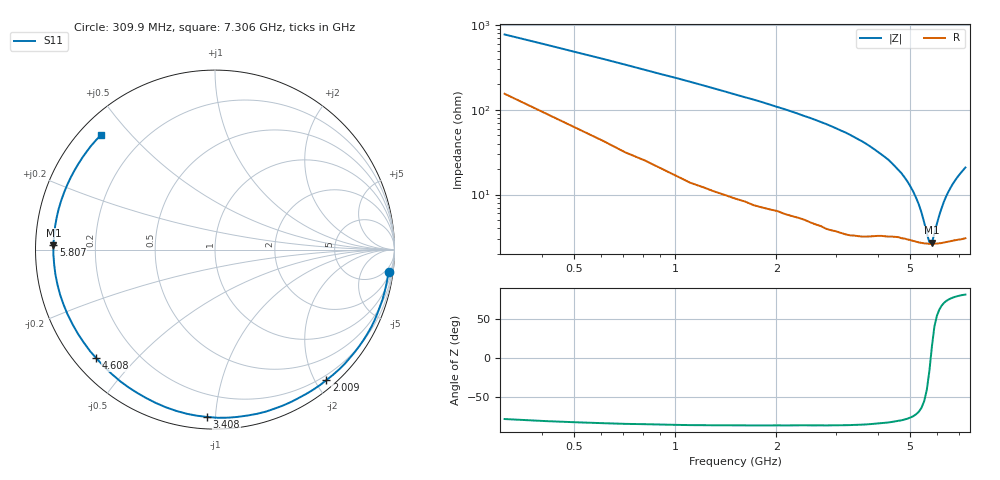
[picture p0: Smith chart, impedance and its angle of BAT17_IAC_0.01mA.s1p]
! Infineon Technologies  Discrete & RF Semiconductors
! BAT17
! IAC = 0.01 mA
! One-Port S-Parameters
# Hz  S  MA  R  50
!f  S11
!Hz  Mag  Ang
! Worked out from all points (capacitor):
!   71 points, 309.9 MHz to 7.306 GHz, reference 50 ohm
!   read as one part to ground: C = 662 fF near 309.9 MHz
!   lowest |Z| = 2.7 ohm at 5.807 GHz (marker M1)
!   series resonance near 5.761 GHz, so ESL is about 1.2 nH
!   S11 on the Smith chart (normalised r, x): 309.9 MHz: 3, -15; 2.009 GHz: 0.13, -2.16; 3.408 GHz: 0.07, -0.95; 4.608 GHz: 0.06, -0.39; 5.807 GHz: 0.05, +0.01; 7.306 GHz: 0.06, +0.41
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3.0985e8  0.9747 -7.2
7.0965e8  0.9739 -16.6
1.0095e9  0.9722 -23.8
1.2094e9  0.9702 -28.8
1.70915e9  0.9631 -41.4
2.009e9  0.956 -49.6
2.10895e9  0.9552 -52.1
2.4088e9  0.9491 -60.9
2.6087e9  0.9478 -66.5
3.0085e9  0.942 -79.1
3.2084e9  0.9393 -85.5
3.4083e9  0.9335 -92.7
3.6082e9  0.9282 -99.7
3.8081e9  0.9201 -107.3
4.008e9  0.9115 -115.1
4.30785e9  0.9038 -125.7
4.6077e9  0.8965 -137.5
4.70765e9  0.8971 -140.9
5.0075e9  0.8962 -152.5
5.2074e9  0.8976 -160.1
5.4073e9  0.8992 -167.4
5.6072e9  0.8999 -174.7
5.8071e9  0.9008 178.4
5.90705e9  0.9002 174.8
6.2069e9  0.9 165.4
6.50675e9  0.8988 156.3
6.90655e9  0.8992 145.2
7.30635e9  0.901 135.1
